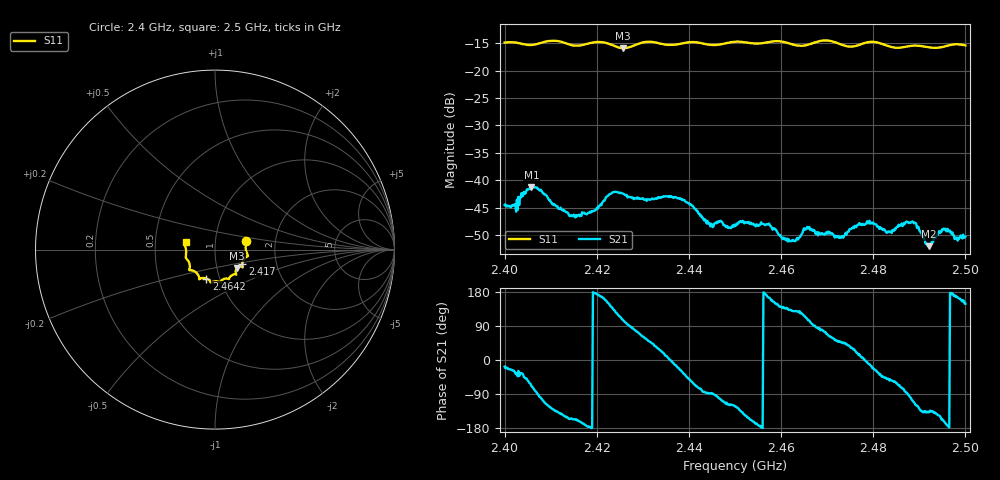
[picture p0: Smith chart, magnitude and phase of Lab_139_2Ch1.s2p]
# Hz S RI R 50
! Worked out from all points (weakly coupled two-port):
!   601 points, 2.4 GHz to 2.5 GHz, reference 50 ohm
!   highest |S21| = -41.21 dB at 2.4058 GHz (marker M1); lowest = -52.0 dB at 2.4922 GHz (marker M2)
!   lowest |S11| = -15.9 dB at 2.4257 GHz (marker M3), VSWR 1.38, Z = 62.5 - j13.1 ohm
!   |S11| at or under -10 dB: start of sweep to end of sweep
!   S12 and S22 are empty: the file has one direction only
!   S11 on the Smith chart (normalised r, x): 2.4 GHz: 1.41, +0.14; 2.417 GHz: 1.34, -0.22; 2.4642 GHz: 0.86, -0.29; 2.5 GHz: 0.72, +0.06
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2.4e9  0.173 0.0487  0.00566 -0.0018  0 0  0 0
2.402333e9  0.1759 0.0386  0.00491 -0.00351  0 0  0 0
2.405833e9  0.1709 0.00403  0.00305 -0.00814  0 0  0 0
2.414333e9  0.1639 -0.05  -0.00432 -0.00202  0 0  0 0
2.416667e9  0.1526 -0.0749  -0.00458 -0.0012  0 0  0 0
2.417e9  0.1519 -0.0788  -0.00492 -0.00104  0 0  0 0
2.425667e9  0.123 -0.1022  -0.00207 0.00726  0 0  0 0
2.433333e9  0.1127 -0.1376  0.00603 0.00356  0 0  0 0
2.4385e9  0.0805 -0.157  0.00579 -0.00341  0 0  0 0
2.444833e9  0.057 -0.1614  0.000193 -0.00401  0 0  0 0
2.45e9  0.029 -0.181  -0.00204 -0.00322  0 0  0 0
2.457167e9  -0.0151 -0.1806  -0.00382 0.000966  0 0  0 0
2.461667e9  -0.0287 -0.1746  -0.00193 0.00214  0 0  0 0
2.464167e9  -0.0478 -0.1612  -0.00168 0.00256  0 0  0 0
2.466667e9  -0.0759 -0.159  -0.000329 0.00347  0 0  0 0
2.473e9  -0.091 -0.147  0.00205 0.00217  0 0  0 0
2.479167e9  -0.1417 -0.1146  0.00419 -0.000823  0 0  0 0
2.483333e9  -0.1406 -0.0898  0.00213 -0.0026  0 0  0 0
2.488833e9  -0.1624 -0.0463  -0.00147 -0.00377  0 0  0 0
2.492167e9  -0.1608 -0.0239  -0.00182 -0.00172  0 0  0 0
2.495167e9  -0.1641 0.0112  -0.00333 -0.00124  0 0  0 0
2.5e9  -0.1638 0.0422  -0.0026 0.0016  0 0  0 0
